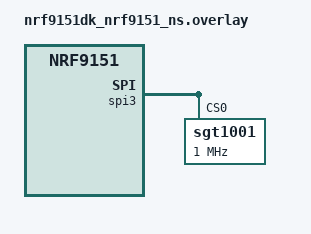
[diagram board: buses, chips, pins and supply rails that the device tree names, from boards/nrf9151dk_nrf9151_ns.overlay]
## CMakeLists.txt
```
# =============================================================================
# poc_sdk_cellular_nrf9151 — SandGrain device+gateway combined on the nRF9151
#
# Dev-shortcut topology: the GATEWAY-mode SDK runs on the board with the
# SGT1001 attached locally over SPI, and talks MQTT over LTE straight to the
# hosted TrustBridge broker (the SDK's Token_To_Server / Server_To_Token
# "gateway authenticates its own token" path — the PC_USB_SGR shape).
#
# Reuses the portable gateway SDK from ../poc_sdk_gateway/sdk_fw
# (GATEWAY_MODE, GW_CRYPTO_ENABLED) with Zephyr ports:
#   port_spi.c          — SGT1001 over Zephyr SPI (proven on this board)
#   port_comm.c         — cloud MQTT over LTE, raw Zephyr client (app_mqtt.c)
#   port_comm_device.c  — inert stub (no remote devices on this build)
#   gw_log.c            — step/auth_result telemetry on the shared connection
# =============================================================================
cmake_minimum_required(VERSION 3.20.0)

find_package(Zephyr REQUIRED HINTS $ENV{ZEPHYR_BASE})
project(poc_sdk_cellular_nrf9151)

set(SDK ${CMAKE_CURRENT_SOURCE_DIR}/../poc_sdk_gateway/sdk_fw)

target_sources(app PRIVATE
    # --- application ---
    src/main.c

    # --- Zephyr port layer ---
    src/ports/port_spi.c
    src/ports/port_comm.c
    src/ports/app_mqtt.c
    src/ports/port_comm_device.c
    src/ports/gw_log.c
    src/ports/port_delay.c
    src/ports/port_random.c

    # --- portable gateway SDK firmware (GATEWAY_MODE) ---
    ${SDK}/src/application/api.c
    ${SDK}/src/middleware/sgr_mw.c
    ${SDK}/src/services/server/server.c
    ${SDK}/src/services/database/auth_db.c
    ${SDK}/src/services/database/auth_db_whitelist.c
    ${SDK}/src/services/devices/device_service.c
    ${SDK}/src/services/protocol/protocol.c
    ${SDK}/src/services/crypto/crypto.c
    ${SDK}/src/utils/json/json_tx_build.c
    ${SDK}/src/utils/encoding/encoding_hex.c
    ${SDK}/src/utils/crc/crc.c
    ${SDK}/src/utils/sha256/sha256.c

    ${SDK}/src/utils/random/random.c
    ${SDK}/src/utils/bit_flip/bit_flip.c
)

target_include_directories(app PRIVATE
    src/ports                       # mosquitto.h stub + gw_log.h (searched first)
    ${SDK}/include
    ${SDK}/src/application
    ${SDK}/src/middleware
    ${SDK}/src/services/server
    ${SDK}/src/services/crypto
    ${SDK}/src/services/protocol
    ${SDK}/src/services/devices
    ${SDK}/src/services/database
    ${SDK}/src/utils/crc
    ${SDK}/src/utils/sha256
    ${SDK}/src/utils/encoding
    ${SDK}/src/utils/json
    ${SDK}/src/utils/bit_flip
    ${SDK}/src/utils/random
    ${SDK}/port
)

# GATEWAY_MODE=1 with the local crypto chip enabled; one (inert) device
# channel. CRC checks off (PoC parity with the PC builds).
target_compile_definitions(app PRIVATE
    SDK_MODE=1
    MAX_DEVICES=1
    GW_CRYPTO_ENABLED=1
    CRC_ENABLE=0
)
```

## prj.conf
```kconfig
# SandGrain device+gateway combined build on the nRF9151 (cellular).
# LTE + MQTT config mirrors the proven cellular_mqtt_test; SPI + console menu
# mirror the proven poc_sdk_device_nrf builds.

# General
CONFIG_HEAP_MEM_POOL_SIZE=4096
CONFIG_MAIN_STACK_SIZE=8192
CONFIG_SYSTEM_WORKQUEUE_STACK_SIZE=4096

# Logging (the MQTT lib and modem lib report errors through it)
CONFIG_LOG=y

# Console + interactive menu (menu reads keystrokes -> no AT host on the UART)
CONFIG_SERIAL=y
CONFIG_CONSOLE=y
CONFIG_UART_CONSOLE=y
CONFIG_PRINTK=y
CONFIG_PICOLIBC=y
CONFIG_CONSOLE_SUBSYS=y
CONFIG_CONSOLE_GETCHAR=y

# SPI to the SGT1001 crypto chip
CONFIG_SPI=y
CONFIG_GPIO=y

# Modem
CONFIG_NRF_MODEM_LIB=y
CONFIG_NRF_MODEM_LIB_NET_IF=y

# Network: offloaded BSD/POSIX sockets over the LTE modem
CONFIG_NETWORKING=y
CONFIG_NET_SOCKETS=y
CONFIG_NET_SOCKETS_OFFLOAD=y
CONFIG_POSIX_API=y
CONFIG_NET_IPV4=y
CONFIG_NET_IPV6=y
CONFIG_NET_TCP=y
CONFIG_NET_CONNECTION_MANAGER=y
CONFIG_NET_CONNECTION_MANAGER_MONITOR_STACK_SIZE=4600

# Duplicate Address Detection is not implemented for offloaded interfaces
CONFIG_NET_IPV6_NBR_CACHE=n
CONFIG_NET_IPV6_MLD=n

# TF-M (the /ns build target needs it; minimal profile)
CONFIG_TFM_PROFILE_TYPE_MINIMAL=y

# MQTT to the hosted TrustBridge broker (plain TCP, port 1883). Raw Zephyr
# MQTT client (app_mqtt.c owns the connection plumbing) instead of the NCS
# mqtt_helper wrapper: the presence Last Will - retained "offline" on
# sandgrain/v1/<tid>/status - and the client ID are built at RUNTIME from the
# chip's TID, so the same hex works on any board/chip, and the connection
# reconnects with backoff after an LTE/TCP drop.
CONFIG_MQTT_LIB=y
CONFIG_MQTT_CLEAN_SESSION=y

# Faster dead-client detection: broker declares the client gone at 1.5x the
# keepalive -> ~45 s instead of the default 90 s. Pings are tiny; fine on LTE.
CONFIG_MQTT_KEEPALIVE=30
```

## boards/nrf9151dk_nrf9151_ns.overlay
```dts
/*
 * SGT1001 crypto chip on the nRF9151-DK Arduino SPI header (&spi3).
 *
 * The board already defines spi3 (arduino_spi) with:
 *   SCK  = P0.13 (D13)
 *   MISO = P0.12 (D12)
 *   MOSI = P0.11 (D11)
 *   CS[0]= P0.10 (D10)  <- our chip-select (reg = <0>)
 * The on-board gd25wb256 flash sits on CS[1] (P0.20) and stays disabled, so
 * there is no conflict. Console is already on uart0 in the board DTS.
 *
 * Wire the SGT1001:  SCK->D13  MISO->D12  MOSI->D11  CS->D10  VCC->3V3  GND->GND
 */
&spi3 {
	status = "okay";

	sgt1001: sgt1001@0 {
		compatible = "zephyr,sgt1001";
		reg = <0>;                       /* CS[0] = D10 / P0.10 */
		spi-max-frequency = <1000000>;
		spi-cs-setup-delay-ns = <1000>;
		spi-cs-hold-delay-ns = <1000>;
	};
};
```

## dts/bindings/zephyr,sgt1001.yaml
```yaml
description: SGT1001 authentication IC on an SPI bus

compatible: "zephyr,sgt1001"

include: [spi-device.yaml]
```

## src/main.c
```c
/* =============================================================================
 * main.c - SandGrain device+gateway combined on the nRF9151-DK (cellular)
 *
 * Dev-shortcut topology chosen for the cellular phase: the gateway-mode SDK
 * runs ON the board with the SGT1001 attached locally over SPI, talking MQTT
 * over LTE straight to the hosted TrustBridge broker. That is the SDK's
 * "gateway authenticates its own token" path (Token_To_Server /
 * Server_To_Token) - the same shape as the original PC-with-USB-chip PoC,
 * with LTE replacing Ethernet. Every connection is outbound, so carrier-grade
 * NAT never gets in the way. Production keeps device and gateway separate.
 *
 * UART menu (PuTTY on the COM port, 115200):
 *   0  BIST - read + print TID          (works without network)
 *   1  Mutual authentication with cloud (Phase 1 Token->Server, then
 *                                        Phase 2 Server->Token)
 *   2  FW verification, correct RW      (expect FW_OK, arms option 4)
 *   3  FW verification, wrong RW        (expect FW_NOK)
 *   4  Installation                     (needs a successful 2 first)
 *
 * Options 2-4 have no gateway to relay through, so they use the SDK self
 * flows: device-role compute on the local chip, gateway-role bridge frames to
 * CyberRock.
 *
 * There is deliberately NO fault-injection option here, unlike the PC device
 * app and the BLE builds. Fault injection exists to exercise the GATEWAY's
 * Error Management: the gateway keeps the CW it issued, diffs it against the
 * device's echo, rebuilds candidate CWs and asks CyberRock for each one's RW
 * until one matches - which is why a corrupted run there still ends AUT_OK.
 * This board has no gateway relaying for it, and no uncorrupted reference CW
 * to diff against: the corruption would land in port_comm.c, below the
 * middleware, so the board could never tell which bits moved. The frames
 * would simply be rejected by the cloud, which tests nothing the clean run
 * does not already test.
 * ============================================================================= */
#include <string.h>
#include <zephyr/kernel.h>
#include <zephyr/sys/printk.h>
#include <zephyr/console/console.h>
#include <zephyr/net/conn_mgr_monitor.h>
#include <zephyr/net/conn_mgr_connectivity.h>

#include "sdk_sgr_user_api.h"
#include "crypto.h"          /* g_sgr_chip_variant, SGR_CHIP_SGB */
#include "sha256.h"          /* pre-computing the RW a signer would embed */
#include "app_mqtt.h"
#include "gw_log.h"
#include "sgr_mw.h"          /* g_sgr_last_claim_token_id */

/* First-enrollment auto re-auth budget. The PC device app reads these from the
 * environment; a board has no environment, so they are compile-time. Four
 * passes at 3s covers a claim that lands while the run is still in flight
 * without holding the auth thread for long. */
#define CLAIM_REAUTH_PASSES   4
#define CLAIM_REAUTH_DELAY_S  3

/* Simulated firmware image, standing in for the contents of the secondary
 * flash partition. Same bytes as the PC device app so a verdict can be compared
 * across the two builds; a real integration hands SGR_SDK_Self_Verification_FW
 * the actual image instead. */
static const uint8_t test_fw_data[] = {
	0x7F, 0x45, 0x4C, 0x46, 0x01, 0x01, 0x01, 0x00,  /* ELF-like header */
	0xDE, 0xAD, 0xBE, 0xEF, 0xCA, 0xFE, 0xBA, 0xBE,
	0x11, 0x22, 0x33, 0x44, 0x55, 0x66, 0x77, 0x88,
	0x99, 0xAA, 0xBB, 0xCC, 0xDD, 0xEE, 0xFF, 0x00,
	0x01, 0x23, 0x45, 0x67, 0x89, 0xAB, 0xCD, 0xEF,
	0xFE, 0xDC, 0xBA, 0x98, 0x76, 0x54, 0x32, 0x10,
	0xA5, 0x5A, 0xA5, 0x5A, 0xA5, 0x5A, 0xA5, 0x5A,
	0x00, 0x11, 0x22, 0x33, 0x44, 0x55, 0x66, 0x77
};

/* What the worker thread should run next. */
enum board_action {
	ACTION_AUTH = 0,
	ACTION_FW_VERIFY_OK,
	ACTION_FW_VERIFY_NOK,
	ACTION_INSTALL
};

#define L4_EVENT_MASK         (NET_EVENT_L4_CONNECTED | NET_EVENT_L4_DISCONNECTED)
#define CONN_LAYER_EVENT_MASK (NET_EVENT_CONN_IF_FATAL_ERROR)

static K_SEM_DEFINE(network_connected_sem, 0, 1);
static struct net_mgmt_event_callback l4_cb;
static struct net_mgmt_event_callback conn_cb;

static bool g_sdk_ready;
static char g_tid_hex[65];

/* SDK flows run on a dedicated worker thread so they can be started both from
 * the UART menu and from TrustBridge's cmd/run_auth trigger (which arrives on
 * the MQTT RX thread - that thread must NOT block for the length of a run,
 * since the run itself needs it to deliver the cloud's replies).
 *
 * One thread, one busy flag, for every flow: auth, FW verification and
 * installation all drive the same chip over the same SPI bus and the same
 * server context over the same MQTT connection, so they must never overlap. */
static K_SEM_DEFINE(work_sem, 0, 1);
static atomic_t g_busy;
static atomic_t g_pending_action;   /* enum board_action */

/* -- LTE ---------------------------------------------------------------------- */
static void l4_event_handler(struct net_mgmt_event_callback *cb,
			     uint64_t event, struct net_if *iface)
{
	ARG_UNUSED(cb);
	ARG_UNUSED(iface);

	switch (event) {
	case NET_EVENT_L4_CONNECTED:
		printk("[LTE] Connected - IP address assigned\n");
		k_sem_give(&network_connected_sem);
		break;
	case NET_EVENT_L4_DISCONNECTED:
		printk("[LTE] Network connectivity lost\n");
		break;
	default:
		break;
	}
}

static void connectivity_event_handler(struct net_mgmt_event_callback *cb,
				       uint64_t event, struct net_if *iface)
{
	ARG_UNUSED(cb);
	ARG_UNUSED(iface);

	if (event == NET_EVENT_CONN_IF_FATAL_ERROR) {
		printk("[LTE] Fatal error from the connectivity layer\n");
	}
}

static int lte_connect(void)
{
	int err;

	net_mgmt_init_event_callback(&l4_cb, l4_event_handler, L4_EVENT_MASK);
	net_mgmt_add_event_callback(&l4_cb);
	net_mgmt_init_event_callback(&conn_cb, connectivity_event_handler,
				     CONN_LAYER_EVENT_MASK);
	net_mgmt_add_event_callback(&conn_cb);

	printk("[LTE] Bringing the modem network interface up...\n");
	err = conn_mgr_all_if_up(true);
	if (err) {
		printk("[LTE] conn_mgr_all_if_up failed (err %d)\n", err);
		return err;
	}

	printk("[LTE] Attaching to the network (can take a few minutes)...\n");
	err = conn_mgr_all_if_connect(true);
	if (err) {
		printk("[LTE] conn_mgr_all_if_connect failed (err %d)\n", err);
		return err;
	}
	k_sem_take(&network_connected_sem, K_FOREVER);
	return 0;
}

/* -- SDK ---------------------------------------------------------------------- */
static bool run_bist(void)
{
	sgr_sdk_bist_result_t bist = {0};
	sgr_sdk_status_t st = SGR_SDK_BIST(&bist);

	if (st != SGR_SDK_OK && st != SGR_SDK_AUTH_FAILED) {
		printk("[BIST] error (status=%d) - is the SGT1001 wired to the SPI header?\n", st);
		return false;
	}

	printk("[BIST] status byte: 0x%02x (%s)\n",
	       bist.bist_byte, bist.passed ? "PASS" : "not PASS");

	for (int i = 0; i < 16; i++) {
		snprintk(&g_tid_hex[i * 2], 3, "%02x", bist.pcc[i]);
	}
	for (int i = 0; i < 16; i++) {
		snprintk(&g_tid_hex[32 + i * 2], 3, "%02x", bist.id[i]);
	}
	printk("TID: %s\n", g_tid_hex);
	return true;
}

/* (Re)initialize the SDK - reads the chip TID over SPI. Retryable so the
 * chip can be wired/fixed without reflashing. */
static bool sdk_init(void)
{
	if (g_sdk_ready) {
		return true;
	}
	printk("[INIT] Initializing gateway SDK (reads TID over SPI)...\n");
	if (SGR_SDK_Initialize() != SGR_SDK_OK) {
		printk("[INIT] FAILED - crypto chip not responding. Check the wiring:\n");
		printk("       CLK->D13  MISO->D12  MOSI->D11  CSN->D10  VCC->3V3  GND->GND\n");
		return false;
	}
	g_sgr_chip_variant = SGR_CHIP_SGB;
	g_sdk_ready = true;
	printk("[INIT] SDK ready (chip variant: SGB)\n");
	return true;
}

static void run_mutual_auth(void)
{
	sgr_sdk_status_t st;

	if (!sdk_init()) {
		return;
	}
	if (!app_mqtt_is_up()) {
		printk("  [!] Broker connection is down - cannot authenticate.\n");
		return;
	}

	/* Step telemetry so the TrustBridge activity board renders this run
	 * (same topics/format as the PC gateway's per-step gw_log). */
	gw_log_publish(g_tid_hex, "1/6", "ok",
		       "Auth run started - combined device+gateway (cellular)", 1);

	printk("\n[AUTH] Phase 1 - Token -> Server (cloud verifies the chip)...\n");
	st = SGR_SDK_Authentication_Token_To_Server();

	/* First-enrollment auto re-auth. An unclaimed chip authenticates fine but
	 * CyberRock answers CLAIM_TOKEN instead of AUTH_OK; the BE then claims that
	 * token, and a later pass yields the real verdict. Drive those passes here,
	 * after a delay, so an FE-triggered run finishes enrollment on its own
	 * instead of needing a second trigger - same behaviour as the PC device app.
	 *
	 * This is NOT the tight retry the middleware refuses to do: the delay is the
	 * whole point, and the middleware still returns after a single attempt. The
	 * sleep runs on the dedicated auth thread, so the MQTT RX thread keeps
	 * servicing keepalives and the broker connection stays up throughout. */
	for (int pass = 1;
	     st == SGR_SDK_CLAIM_TOKEN_READY && pass <= CLAIM_REAUTH_PASSES;
	     pass++) {
		printk("  Token ready to be claimed: %s\n", g_sgr_last_claim_token_id);
		printk("  Waiting %ds for the claim to settle, re-auth (pass %d/%d)...\n",
		       CLAIM_REAUTH_DELAY_S, pass, CLAIM_REAUTH_PASSES);
		gw_log_publish(g_tid_hex, "claim", "info",
			       "Token ready to be claimed - awaiting claim", pass);
		k_sleep(K_SECONDS(CLAIM_REAUTH_DELAY_S));
		st = SGR_SDK_Authentication_Token_To_Server();
	}

	if (st == SGR_SDK_CLAIM_TOKEN_READY) {
		/* Still unclaimed after every pass. Stop without publishing
		 * auth_result 0 - that would mark the device Rejected in the FE for
		 * what is a pending claim, and Phase 2 has nothing to verify yet. */
		printk("  >> Phase 1 PENDING - token still not claimed after %d passes\n",
		       CLAIM_REAUTH_PASSES);
		printk("     Claim TID %.16s... in TrustBridge, then run auth again.\n",
		       g_tid_hex);
		gw_log_publish(g_tid_hex, "claim", "info",
			       "Claim still pending - will finish on the next trigger",
			       CLAIM_REAUTH_PASSES);
		return;
	}
	if (st != SGR_SDK_OK) {
		printk("  >> Phase 1 FAILED (status=%d)\n", st);
		printk("     (is TID %.16s... registered in TrustBridge?)\n", g_tid_hex);
		gw_log_publish(g_tid_hex, "auth", "fail",
			       "Phase 1 - CyberRock rejected token authentication", 1);
		gw_log_publish(g_tid_hex, "6/6", "fail",
			       "Phase 1 failed - CR verdict AUT_NOK", 1);
		gw_log_publish_auth_result(g_tid_hex, 0);
		return;
	}
	printk("  >> Phase 1 OK - cloud accepted the chip\n");
	gw_log_publish(g_tid_hex, "auth", "ok",
		       "Phase 1 - token authentication verified by CyberRock", 1);
	gw_log_publish(g_tid_hex, "6/6", "ok",
		       "Phase 1 complete - token auth verified", 1);

	printk("\n[AUTH] Phase 2 - Server -> Token (chip verifies the cloud)...\n");
	st = SGR_SDK_Authentication_Server_To_Token();
	if (st != SGR_SDK_OK) {
		printk("  >> Phase 2 FAILED (status=%d)\n", st);
		gw_log_publish(g_tid_hex, "Phase 2", "fail",
			       "Phase 2 - HRW mismatch, cloud identity NOT verified", 1);
		gw_log_publish_auth_result(g_tid_hex, 0);
		return;
	}
	printk("  >> MUTUAL AUTHENTICATION OK\n");
	gw_log_publish(g_tid_hex, "Phase 2", "ok",
		       "Phase 2 - chip verified cloud identity (HRW match)", 1);
	gw_log_publish_auth_result(g_tid_hex, 1);
}

/* Pre-compute the RW a signing authority would have embedded in the image:
 * SHA-256 over the image is the CW, and the chip turns that into the RW. The
 * OK case passes it back to the SDK unchanged; the NOK case passes zeros, which
 * stands in for a tampered or unsigned image. */
static bool fw_expected_rw(uint8_t rw_out[16])
{
	uint8_t hash[32];

	sha256_compute(test_fw_data, sizeof(test_fw_data), hash);
	if (crypto_get_rw(hash, sizeof(hash), rw_out, 16, NULL, 0,
			  SGR_CRYPTO_MODE_HOST_AUTH) != SGR_CRYPTO_OK) {
		printk("  [!] Crypto chip failed to compute the expected RW\n");
		return false;
	}
	return true;
}

static void run_fw_verification(bool use_valid_rw)
{
	sgr_sdk_status_t st;
	uint8_t          rw_valid[16] = {0};
	uint8_t          rw_wrong[16] = {0};   /* zeros - deliberately not the RW */

	if (!sdk_init()) {
		return;
	}
	if (!app_mqtt_is_up()) {
		printk("  [!] Broker connection is down - cannot reach CyberRock.\n");
		return;
	}
	if (!fw_expected_rw(rw_valid)) {
		return;
	}

	printk("\n[ FW ] Image size: %u bytes, using the %s RW\n",
	       (unsigned)sizeof(test_fw_data),
	       use_valid_rw ? "CORRECT" : "WRONG");
	gw_log_publish(g_tid_hex, "fw", "ok",
		       use_valid_rw ? "FW verification started - valid image"
				    : "FW verification started - tampered image", 1);

	st = SGR_SDK_Self_Verification_FW(test_fw_data, sizeof(test_fw_data),
					  use_valid_rw ? rw_valid : rw_wrong);

	if (st == SGR_SDK_OK) {
		printk("  >> FW VERIFICATION OK - FW_OK recorded, option 4 is armed\n");
		gw_log_publish(g_tid_hex, "fw", "ok",
			       "FW verification passed - install permission granted", 1);
	} else if (st == SGR_SDK_AUTH_FAILED) {
		printk("  >> FW VERIFICATION NOK - FW_NOK recorded (expected for option 3)\n");
		gw_log_publish(g_tid_hex, "fw", "fail",
			       "FW verification failed - install permission denied", 1);
	} else if (st == SGR_SDK_COMM_ERROR) {
		printk("  >> FW verification ERROR - cloud communication failed (status=%d)\n", st);
	} else if (st == SGR_SDK_TOKEN_ERROR) {
		printk("  >> FW verification ERROR - crypto chip failed (status=%d)\n", st);
	} else {
		printk("  >> FW verification ERROR (status=%d)\n", st);
	}
}

static void run_installation(void)
{
	sgr_sdk_status_t st;

	if (!sdk_init()) {
		return;
	}
	if (!app_mqtt_is_up()) {
		printk("  [!] Broker connection is down - cannot reach CyberRock.\n");
		return;
	}

	printk("\n[INST] Requesting installation authorization...\n");
	gw_log_publish(g_tid_hex, "install", "ok",
		       "Installation authorization requested", 1);

	st = SGR_SDK_Self_Installation();

	if (st == SGR_SDK_OK) {
		printk("  >> INSTALLATION AUTHORIZED\n");
		gw_log_publish(g_tid_hex, "install", "ok",
			       "Installation authorized by CyberRock", 1);
	} else if (st == SGR_SDK_AUTH_FAILED) {
		printk("  >> INSTALLATION DENIED\n");
		gw_log_publish(g_tid_hex, "install", "fail",
			       "Installation denied by CyberRock", 1);
	} else if (st == SGR_SDK_COMM_ERROR) {
		printk("  >> Installation ERROR - cloud communication failed (status=%d)\n", st);
	} else if (st == SGR_SDK_TOKEN_ERROR) {
		printk("  >> Installation ERROR - crypto chip failed (status=%d)\n", st);
	} else {
		printk("  >> Installation ERROR (status=%d)\n", st);
		printk("     (run option 2 first - the cloud needs a fresh FW_OK record,\n");
		printk("      and that record expires a few minutes after it is made)\n");
	}
}

/* Called by app_mqtt.c (MQTT RX thread) on a TrustBridge auth trigger.
 * TrustBridge sends {"mode":N}. This build has one auth flow, so every mode
 * runs it. Modes 2 and 3 - fault injection on the PC and BLE builds - are
 * called out rather than silently treated as a normal run, so a pass in the
 * frontend is never mistaken for a fault-injection result. */
void app_on_run_auth(int mode)
{
	if (mode == 2 || mode == 3) {
		printk("[MQTT] Mode %d (fault injection) does not exist on this "
		       "build - running a normal mutual auth.\n", mode);
		printk("       Fault injection exercises the gateway's Error "
		       "Management; this board has no gateway relaying for it.\n");
	}

	atomic_set(&g_pending_action, ACTION_AUTH);
	k_sem_give(&work_sem);
}

/* Queue a menu-selected flow. Refuses while the worker is running, since every
 * flow needs exclusive use of the chip and the server context. */
static void request_action(enum board_action action)
{
	if (atomic_get(&g_busy)) {
		printk("  [!] A run is already in progress - try again when it finishes\n");
		return;
	}
	atomic_set(&g_pending_action, action);
	k_sem_give(&work_sem);
}

static void print_menu(void);

static void worker_thread_fn(void *a, void *b, void *c)
{
	ARG_UNUSED(a); ARG_UNUSED(b); ARG_UNUSED(c);

	while (1) {
		k_sem_take(&work_sem, K_FOREVER);
		if (!atomic_cas(&g_busy, 0, 1)) {
			continue;   /* a run is already in progress */
		}
		switch ((enum board_action)atomic_get(&g_pending_action)) {
		case ACTION_FW_VERIFY_OK:
			run_fw_verification(true);
			break;
		case ACTION_FW_VERIFY_NOK:
			run_fw_verification(false);
			break;
		case ACTION_INSTALL:
			run_installation();
			break;
		case ACTION_AUTH:
		default:
			run_mutual_auth();
			break;
		}
		atomic_set(&g_busy, 0);
		/* A background-triggered run scrolls the console - reprint the
		 * prompt so the menu doesn't look dead afterwards. */
		print_menu();
	}
}

K_THREAD_DEFINE(worker_thread, 8192, worker_thread_fn, NULL, NULL, NULL, 5, 0, 0);

/* -- Menu --------------------------------------------------------------------- */
static void print_menu(void)
{
	printk("\n=====================================================\n");
	printk("  Select an option:\n");
	printk("   0  BIST - read + print TID\n");
	printk("   1  Mutual Authentication with TrustBridge (over LTE)\n");
	printk("   2  FW Verification - correct RW (expect FW_OK, arms option 4)\n");
	printk("   3  FW Verification - wrong RW   (expect FW_NOK)\n");
	printk("   4  Installation - request install auth (run option 2 first)\n");
	printk("=====================================================\n");
	printk("  Option: ");
}

int main(void)
{
	k_sleep(K_MSEC(300));
	printk("\n=====================================================\n");
	printk("  SandGrain DEVICE+GATEWAY - mutual auth over LTE\n");
	printk("  board:  %s\n", CONFIG_BOARD_TARGET);
	printk("  broker: %s:%d\n", APP_MQTT_BROKER_HOST, APP_MQTT_BROKER_PORT);
	printk("=====================================================\n");

	/* Read the chip FIRST (SPI needs no network): the TID must be known
	 * before the MQTT CONNECT so the retained Last Will - "offline" on
	 * this chip's status topic - can ride along in it. */
	bool have_tid = sdk_init() && run_bist();

	if (!have_tid) {
		printk("[WARN] TID unknown - connecting without a presence will"
		       " (fix the chip, then use menu option 0)\n");
	}

	if (lte_connect() != 0) {
		printk("[FATAL] LTE bring-up failed\n");
		return 0;
	}
	if (app_mqtt_start(have_tid ? g_tid_hex : NULL) != 0) {
		printk("[WARN] Broker unreachable - reconnecting in the background\n");
	}
	gw_log_init();

	if (have_tid) {
		/* Board announces itself online (retained) - same presence
		 * semantics as native devices and the BLE gateway proxy. */
		app_mqtt_publish_presence(g_tid_hex, true);
		/* Let TrustBridge trigger auth runs (online device flow). */
		app_mqtt_subscribe_run_auth(g_tid_hex);
	}

	console_init();
	print_menu();

	while (1) {
		uint8_t c = console_getchar();

		if (c == '\r' || c == '\n') {
			continue;
		}
		printk("%c\n", c);

		switch (c) {
		case '0':
			if (atomic_get(&g_busy)) {
				printk("  [!] Auth run in progress - try again after it finishes\n");
				break;
			}
			if (sdk_init() && run_bist() && g_tid_hex[0]) {
				if (app_mqtt_reconnect_with_tid(g_tid_hex) == 0) {
					/* Identity already installed - just
					 * refresh the retained state. */
					app_mqtt_publish_presence(g_tid_hex, true);
					app_mqtt_subscribe_run_auth(g_tid_hex);
				} else {
					printk("  [i] Installing TID identity - reconnecting to broker...\n");
				}
			}
			break;
		case '1':
			request_action(ACTION_AUTH);
			break;
		case '2':
			request_action(ACTION_FW_VERIFY_OK);
			break;
		case '3':
			request_action(ACTION_FW_VERIFY_NOK);
			break;
		case '4':
			request_action(ACTION_INSTALL);
			break;
		default:
			printk("  [!] Invalid option\n");
			break;
		}
		print_menu();
	}
	return 0;
}
```
